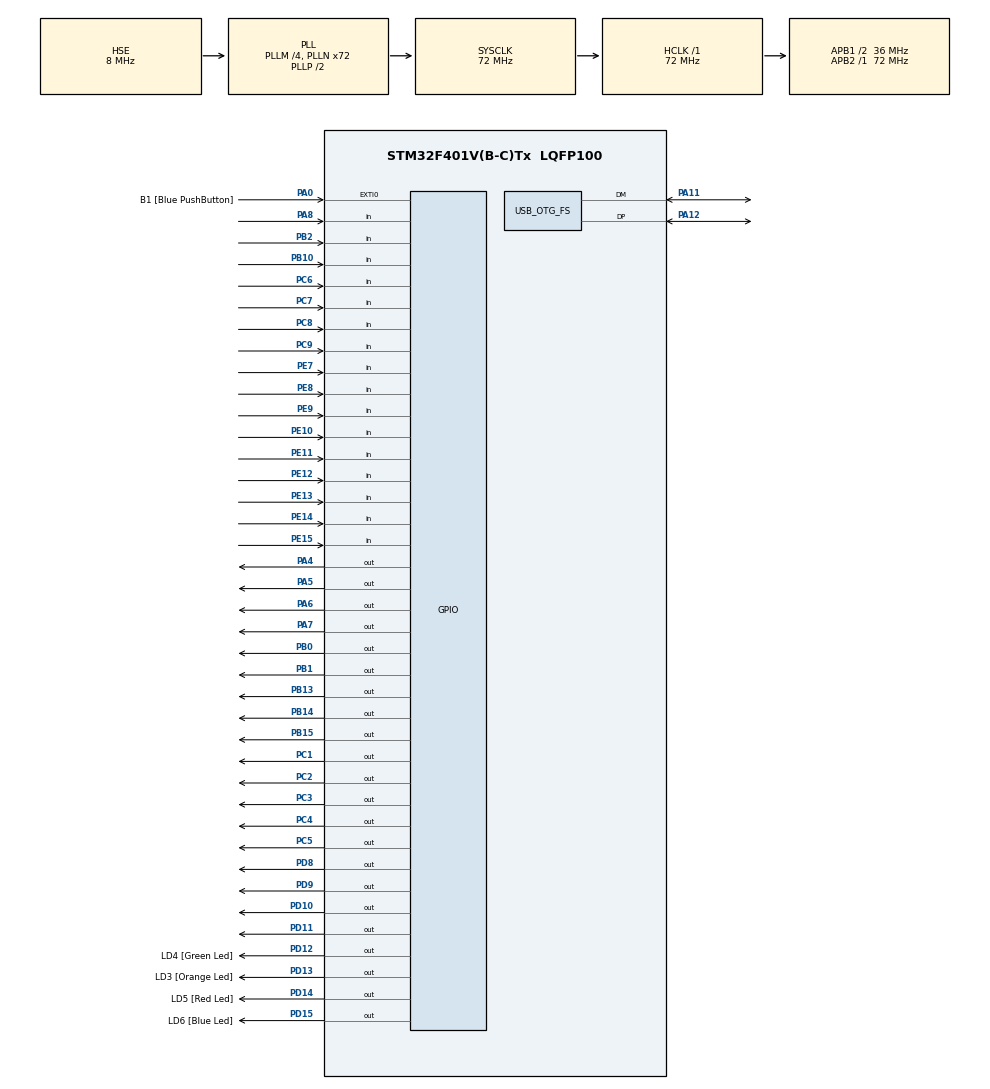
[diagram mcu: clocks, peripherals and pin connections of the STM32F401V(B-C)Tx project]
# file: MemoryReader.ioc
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Mcu.Family=STM32F4
Mcu.Name=STM32F401V(B-C)Tx
Mcu.Package=LQFP100
NVIC.OTG_FS_IRQn=true\:0\:0\:false\:false\:true
NVIC.PriorityGroup=NVIC_PRIORITYGROUP_0
PA0-WKUP.GPIO_Label=B1 [Blue PushButton]
PA0-WKUP.GPIO_ModeDefaultEXTI=GPIO_MODE_EVT_RISING
PA0-WKUP.GPIO_PuPd=GPIO_NOPULL
PA0-WKUP.Signal=GPXTI0
PA11.Mode=Device_Only
PA11.Signal=USB_OTG_FS_DM
PA12.Mode=Device_Only
PA12.Signal=USB_OTG_FS_DP
PA13.GPIO_Label=SWDIO
PA13.Signal=SYS_JTMS-SWDIO
PA14.GPIO_Label=SWCLK
PA14.Signal=SYS_JTCK-SWCLK
PA4.GPIO_PuPd=GPIO_PULLDOWN
PA4.Signal=GPIO_Output
PA5.GPIO_PuPd=GPIO_PULLDOWN
PA5.Signal=GPIO_Output
PA6.GPIO_PuPd=GPIO_PULLDOWN
PA6.Signal=GPIO_Output
PA7.GPIO_PuPd=GPIO_PULLDOWN
PA7.Signal=GPIO_Output
PA8.GPIO_PuPd=GPIO_PULLDOWN
PA8.Signal=GPIO_Input
PB0.GPIO_PuPd=GPIO_PULLDOWN
PB0.Signal=GPIO_Output
PB1.GPIO_PuPd=GPIO_PULLDOWN
PB1.Signal=GPIO_Output
PB10.GPIO_PuPd=GPIO_PULLDOWN
PB10.Signal=GPIO_Input
PB13.GPIO_PuPd=GPIO_PULLDOWN
PB13.Signal=GPIO_Output
PB14.GPIO_PuPd=GPIO_PULLDOWN
PB14.Signal=GPIO_Output
PB15.GPIO_PuPd=GPIO_PULLDOWN
PB15.Signal=GPIO_Output
PB2.GPIO_PuPd=GPIO_PULLDOWN
PB2.Signal=GPIO_Input
PB3.GPIO_Label=SWO
PB3.Signal=SYS_JTDO-SWO
PC1.GPIO_PuPd=GPIO_PULLDOWN
PC1.Signal=GPIO_Output
PC14-OSC32_IN.GPIO_Label=PC14-OSC32_IN
PC14-OSC32_IN.Signal=RCC_OSC32_IN
PC15-OSC32_OUT.GPIO_Label=PC15-OSC32_OUT
PC15-OSC32_OUT.Signal=RCC_OSC32_OUT
PC2.GPIO_PuPd=GPIO_PULLDOWN
PC2.Signal=GPIO_Output
PC3.GPIO_PuPd=GPIO_PULLDOWN
PC3.Signal=GPIO_Output
PC4.GPIO_PuPd=GPIO_PULLDOWN
PC4.Signal=GPIO_Output
PC5.GPIO_PuPd=GPIO_PULLDOWN
PC5.Signal=GPIO_Output
PC6.GPIO_PuPd=GPIO_PULLDOWN
PC6.Signal=GPIO_Input
PC7.GPIO_PuPd=GPIO_PULLDOWN
PC7.Signal=GPIO_Input
PC8.GPIO_PuPd=GPIO_PULLDOWN
PC8.Signal=GPIO_Input
PC9.GPIO_PuPd=GPIO_PULLDOWN
PC9.Signal=GPIO_Input
PD10.GPIO_PuPd=GPIO_PULLDOWN
PD10.Signal=GPIO_Output
PD11.GPIO_PuPd=GPIO_PULLDOWN
PD11.Signal=GPIO_Output
PD12.GPIO_Label=LD4 [Green Led]
PD12.GPIO_PuPd=GPIO_PULLDOWN
PD12.GPIO_Speed=GPIO_SPEED_FREQ_LOW
PD12.Signal=GPIO_Output
PD13.GPIO_Label=LD3 [Orange Led]
PD13.GPIO_PuPd=GPIO_PULLDOWN
PD13.GPIO_Speed=GPIO_SPEED_FREQ_LOW
PD13.Signal=GPIO_Output
PD14.GPIO_Label=LD5 [Red Led]
PD14.GPIO_PuPd=GPIO_PULLDOWN
PD14.GPIO_Speed=GPIO_SPEED_FREQ_LOW
PD14.Signal=GPIO_Output
PD15.GPIO_Label=LD6 [Blue Led]
PD15.GPIO_PuPd=GPIO_PULLDOWN
PD15.GPIO_Speed=GPIO_SPEED_FREQ_LOW
PD15.Signal=GPIO_Output
PD8.GPIO_PuPd=GPIO_PULLDOWN
PD8.Signal=GPIO_Output
PD9.GPIO_PuPd=GPIO_PULLDOWN
PD9.Signal=GPIO_Output
PE10.GPIO_PuPd=GPIO_PULLDOWN
PE10.Signal=GPIO_Input
PE11.GPIO_PuPd=GPIO_PULLDOWN
PE11.Signal=GPIO_Input
PE12.GPIO_PuPd=GPIO_PULLDOWN
PE12.Signal=GPIO_Input
PE13.GPIO_PuPd=GPIO_PULLDOWN
PE13.Signal=GPIO_Input
PE14.GPIO_PuPd=GPIO_PULLDOWN
PE14.Signal=GPIO_Input
PE15.GPIO_PuPd=GPIO_PULLDOWN
PE15.Signal=GPIO_Input
PE7.GPIO_PuPd=GPIO_PULLDOWN
PE7.Signal=GPIO_Input
PE8.GPIO_PuPd=GPIO_PULLDOWN
PE8.Signal=GPIO_Input
PE9.GPIO_PuPd=GPIO_PULLDOWN
PE9.Signal=GPIO_Input
PH0\ -\ OSC_IN.GPIO_Label=PH0-OSC_IN
PH0\ -\ OSC_IN.Mode=HSE-External-Oscillator
PH0\ -\ OSC_IN.Signal=RCC_OSC_IN
PH1\ -\ OSC_OUT.GPIO_Label=PH1-OSC_OUT
PH1\ -\ OSC_OUT.Mode=HSE-External-Oscillator
PH1\ -\ OSC_OUT.Signal=RCC_OSC_OUT
ProjectManager.HeapSize=0x200
ProjectManager.StackSize=0x400
ProjectManager.TargetToolchain=Other Toolchains (GPDSC)
RCC.48MHZClocksFreq_Value=48000000
RCC.AHBFreq_Value=72000000
RCC.APB1CLKDivider=RCC_HCLK_DIV2
RCC.APB1Freq_Value=36000000
RCC.APB1TimFreq_Value=72000000
RCC.APB2Freq_Value=72000000
RCC.APB2TimFreq_Value=72000000
RCC.CortexFreq_Value=72000000
RCC.HCLKFreq_Value=72000000
RCC.HSE_VALUE=8000000
RCC.HSI_VALUE=16000000
RCC.LSE_VALUE=32768
RCC.PLLM=4
RCC.PLLN=72
RCC.PLLQ=3
RCC.SYSCLKFreq_VALUE=72000000
RCC.SYSCLKSource=RCC_SYSCLKSOURCE_PLLCLK
RCC.VCOOutputFreq_Value=144000000
USB_DEVICE.CLASS_NAME_FS=CDC
USB_DEVICE.VirtualModeFS=Cdc_FS
USB_OTG_FS.VirtualMode=Device_Only
VP_USB_DEVICE_VS_USB_DEVICE_CDC_FS.Mode=CDC_FS
board=STM32F401C-DISCO

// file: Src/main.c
/**
  ******************************************************************************
  * File Name          : main.c
  * Description        : Main program body
  ******************************************************************************
  *
  * Copyright (c) 2020 STMicroelectronics International N.V.
  * All rights reserved.
  *
  * Redistribution and use in source and binary forms, with or without
  * modification, are permitted, provided that the following conditions are met:
  *
  * 1. Redistribution of source code must retain the above copyright notice,
  *    this list of conditions and the following disclaimer.
  * 2. Redistributions in binary form must reproduce the above copyright notice,
  *    this list of conditions and the following disclaimer in the documentation
  *    and/or other materials provided with the distribution.
  * 3. Neither the name of STMicroelectronics nor the names of other
  *    contributors to this software may be used to endorse or promote products
  *    derived from this software without specific written permission.
  * 4. This software, including modifications and/or derivative works of this
  *    software, must execute solely and exclusively on microcontroller or
  *    microprocessor devices manufactured by or for STMicroelectronics.
  * 5. Redistribution and use of this software other than as permitted under
  *    this license is void and will automatically terminate your rights under
  *    this license.
  *
  * THIS SOFTWARE IS PROVIDED BY STMICROELECTRONICS AND CONTRIBUTORS "AS IS"
  * AND ANY EXPRESS, IMPLIED OR STATUTORY WARRANTIES, INCLUDING, BUT NOT
  * LIMITED TO, THE IMPLIED WARRANTIES OF MERCHANTABILITY, FITNESS FOR A
  * PARTICULAR PURPOSE AND NON-INFRINGEMENT OF THIRD PARTY INTELLECTUAL PROPERTY
  * RIGHTS ARE DISCLAIMED TO THE FULLEST EXTENT PERMITTED BY LAW. IN NO EVENT
  * SHALL STMICROELECTRONICS OR CONTRIBUTORS BE LIABLE FOR ANY DIRECT, INDIRECT,
  * INCIDENTAL, SPECIAL, EXEMPLARY, OR CONSEQUENTIAL DAMAGES (INCLUDING, BUT NOT
  * LIMITED TO, PROCUREMENT OF SUBSTITUTE GOODS OR SERVICES; LOSS OF USE, DATA,
  * OR PROFITS; OR BUSINESS INTERRUPTION) HOWEVER CAUSED AND ON ANY THEORY OF
  * LIABILITY, WHETHER IN CONTRACT, STRICT LIABILITY, OR TORT (INCLUDING
  * NEGLIGENCE OR OTHERWISE) ARISING IN ANY WAY OUT OF THE USE OF THIS SOFTWARE,
  * EVEN IF ADVISED OF THE POSSIBILITY OF SUCH DAMAGE.
  *
  ******************************************************************************
  */
#include "main.h"
#include "stm32f4xx_hal.h"
#include "usb_device.h"

/* USER CODE BEGIN Includes */
#include "circbuf.h"
/* USER CODE END Includes */

/* USER CODE BEGIN PV */
/* Private variables ---------------------------------------------------------*/
extern circbuf_handler circular_buffer_1;
typedef union {
  uint8_t b[2];
  uint16_t w;
} WordU;
/* USER CODE END PV */

void SystemClock_Config(void);
void Error_Handler(void);
static void MX_GPIO_Init(void);

/* USER CODE BEGIN PFP */
/* Private function prototypes -----------------------------------------------*/
void Read_Address(uint32_t address,uint16_t* word); // address is 21 bit value, word is memory address read

/* USER CODE END PFP */

int main(void)
{

  /* MCU Configuration----------------------------------------------------------*/

  /* Reset of all peripherals, Initializes the Flash interface and the Systick. */
  HAL_Init();

  /* Configure the system clock */
  SystemClock_Config();

  /* Initialize all configured peripherals */
  MX_GPIO_Init();
  MX_USB_DEVICE_Init();

  /* Infinite loop */
  while (1)
  {

  /* USER CODE BEGIN 3 */
    if(circbuf_get_status(circular_buffer_1) != CIRCBUF_STATUS_EMPTY)
    {
      /* Begin data transmission */
      volatile WordU word;

      for(uint32_t i=0; i<0xFFFF; i++)
//      for(uint32_t i=0; i< (1<<21); i++)
      {
        Read_Address(i,&word.w);
        CDC_Transmit_FS(word.b,2);
        HAL_Delay(1); // Try to give UART time to breathe
      }
      while(circbuf_get_status(circular_buffer_1) != CIRCBUF_STATUS_EMPTY)
      {
        circbuf_pop(circular_buffer_1,NULL);
      }

    }

  }
  /* USER CODE END 3 */

}

/** System Clock Configuration
*/
void SystemClock_Config(void)
{

  RCC_OscInitTypeDef RCC_OscInitStruct;
  RCC_ClkInitTypeDef RCC_ClkInitStruct;

    /**Configure the main internal regulator output voltage
    */
  __HAL_RCC_PWR_CLK_ENABLE();

  __HAL_PWR_VOLTAGESCALING_CONFIG(PWR_REGULATOR_VOLTAGE_SCALE2);

    /**Initializes the CPU, AHB and APB busses clocks
    */
  RCC_OscInitStruct.OscillatorType = RCC_OSCILLATORTYPE_HSE;
  RCC_OscInitStruct.HSEState = RCC_HSE_ON;
  RCC_OscInitStruct.PLL.PLLState = RCC_PLL_ON;
  RCC_OscInitStruct.PLL.PLLSource = RCC_PLLSOURCE_HSE;
  RCC_OscInitStruct.PLL.PLLM = 4;
  RCC_OscInitStruct.PLL.PLLN = 72;
  RCC_OscInitStruct.PLL.PLLP = RCC_PLLP_DIV2;
  RCC_OscInitStruct.PLL.PLLQ = 3;
  if (HAL_RCC_OscConfig(&RCC_OscInitStruct) != HAL_OK)
  {
    Error_Handler();
  }

    /**Initializes the CPU, AHB and APB busses clocks
    */
  RCC_ClkInitStruct.ClockType = RCC_CLOCKTYPE_HCLK|RCC_CLOCKTYPE_SYSCLK
                              |RCC_CLOCKTYPE_PCLK1|RCC_CLOCKTYPE_PCLK2;
  RCC_ClkInitStruct.SYSCLKSource = RCC_SYSCLKSOURCE_PLLCLK;
  RCC_ClkInitStruct.AHBCLKDivider = RCC_SYSCLK_DIV1;
  RCC_ClkInitStruct.APB1CLKDivider = RCC_HCLK_DIV2;
  RCC_ClkInitStruct.APB2CLKDivider = RCC_HCLK_DIV1;

  if (HAL_RCC_ClockConfig(&RCC_ClkInitStruct, FLASH_LATENCY_2) != HAL_OK)
  {
    Error_Handler();
  }

    /**Configure the Systick interrupt time
    */
  HAL_SYSTICK_Config(HAL_RCC_GetHCLKFreq()/1000);

    /**Configure the Systick
    */
  HAL_SYSTICK_CLKSourceConfig(SYSTICK_CLKSOURCE_HCLK);

  /* SysTick_IRQn interrupt configuration */
  HAL_NVIC_SetPriority(SysTick_IRQn, 0, 0);
}

/** Configure pins as
        * Analog
        * Input
        * Output
        * EVENT_OUT
        * EXTI
*/
static void MX_GPIO_Init(void)
{

  GPIO_InitTypeDef GPIO_InitStruct;

  /* GPIO Ports Clock Enable */
  __HAL_RCC_GPIOC_CLK_ENABLE();
  __HAL_RCC_GPIOH_CLK_ENABLE();
  __HAL_RCC_GPIOA_CLK_ENABLE();
  __HAL_RCC_GPIOB_CLK_ENABLE();
  __HAL_RCC_GPIOE_CLK_ENABLE();
  __HAL_RCC_GPIOD_CLK_ENABLE();

  /*Configure GPIO pin Output Level */
  HAL_GPIO_WritePin(GPIOC, GPIO_PIN_1|GPIO_PIN_2|GPIO_PIN_3|GPIO_PIN_4
                          |GPIO_PIN_5, GPIO_PIN_RESET);

  /*Configure GPIO pin Output Level */
  HAL_GPIO_WritePin(GPIOA, GPIO_PIN_4|GPIO_PIN_5|GPIO_PIN_6|GPIO_PIN_7, GPIO_PIN_RESET);

  /*Configure GPIO pin Output Level */
  HAL_GPIO_WritePin(GPIOB, GPIO_PIN_0|GPIO_PIN_1|GPIO_PIN_13|GPIO_PIN_14
                          |GPIO_PIN_15, GPIO_PIN_RESET);

  /*Configure GPIO pin Output Level */
  HAL_GPIO_WritePin(GPIOD, GPIO_PIN_8|GPIO_PIN_9|GPIO_PIN_10|GPIO_PIN_11
                          |LD4_Pin|LD3_Pin|LD5_Pin|LD6_Pin, GPIO_PIN_RESET);

  /*Configure GPIO pins : PC1 PC2 PC3 PC4
                           PC5 */
  GPIO_InitStruct.Pin = GPIO_PIN_1|GPIO_PIN_2|GPIO_PIN_3|GPIO_PIN_4
                          |GPIO_PIN_5;
  GPIO_InitStruct.Mode = GPIO_MODE_OUTPUT_PP;
  GPIO_InitStruct.Pull = GPIO_PULLDOWN;
  GPIO_InitStruct.Speed = GPIO_SPEED_FREQ_LOW;
  HAL_GPIO_Init(GPIOC, &GPIO_InitStruct);

  /*Configure GPIO pin : B1_Pin */
  GPIO_InitStruct.Pin = B1_Pin;
  GPIO_InitStruct.Mode = GPIO_MODE_EVT_RISING;
  GPIO_InitStruct.Pull = GPIO_NOPULL;
  HAL_GPIO_Init(B1_GPIO_Port, &GPIO_InitStruct);

  /*Configure GPIO pins : PA4 PA5 PA6 PA7 */
  GPIO_InitStruct.Pin = GPIO_PIN_4|GPIO_PIN_5|GPIO_PIN_6|GPIO_PIN_7;
  GPIO_InitStruct.Mode = GPIO_MODE_OUTPUT_PP;
  GPIO_InitStruct.Pull = GPIO_PULLDOWN;
  GPIO_InitStruct.Speed = GPIO_SPEED_FREQ_LOW;
  HAL_GPIO_Init(GPIOA, &GPIO_InitStruct);

  /*Configure GPIO pins : PB0 PB1 PB13 PB14
                           PB15 */
  GPIO_InitStruct.Pin = GPIO_PIN_0|GPIO_PIN_1|GPIO_PIN_13|GPIO_PIN_14
                          |GPIO_PIN_15;
  GPIO_InitStruct.Mode = GPIO_MODE_OUTPUT_PP;
  GPIO_InitStruct.Pull = GPIO_PULLDOWN;
  GPIO_InitStruct.Speed = GPIO_SPEED_FREQ_LOW;
  HAL_GPIO_Init(GPIOB, &GPIO_InitStruct);

  /*Configure GPIO pins : PB2 PB10 */
  GPIO_InitStruct.Pin = GPIO_PIN_2|GPIO_PIN_10;
  GPIO_InitStruct.Mode = GPIO_MODE_INPUT;
  GPIO_InitStruct.Pull = GPIO_PULLDOWN;
  HAL_GPIO_Init(GPIOB, &GPIO_InitStruct);

  /*Configure GPIO pins : PE7 PE8 PE9 PE10
                           PE11 PE12 PE13 PE14
                           PE15 */
  GPIO_InitStruct.Pin = GPIO_PIN_7|GPIO_PIN_8|GPIO_PIN_9|GPIO_PIN_10
                          |GPIO_PIN_11|GPIO_PIN_12|GPIO_PIN_13|GPIO_PIN_14
                          |GPIO_PIN_15;
  GPIO_InitStruct.Mode = GPIO_MODE_INPUT;
  GPIO_InitStruct.Pull = GPIO_PULLDOWN;
  HAL_GPIO_Init(GPIOE, &GPIO_InitStruct);

  /*Configure GPIO pins : PD8 PD9 PD10 PD11
                           LD4_Pin LD3_Pin LD5_Pin LD6_Pin */
  GPIO_InitStruct.Pin = GPIO_PIN_8|GPIO_PIN_9|GPIO_PIN_10|GPIO_PIN_11
                          |LD4_Pin|LD3_Pin|LD5_Pin|LD6_Pin;
  GPIO_InitStruct.Mode = GPIO_MODE_OUTPUT_PP;
  GPIO_InitStruct.Pull = GPIO_PULLDOWN;
  GPIO_InitStruct.Speed = GPIO_SPEED_FREQ_LOW;
  HAL_GPIO_Init(GPIOD, &GPIO_InitStruct);

  /*Configure GPIO pins : PC6 PC7 PC8 PC9 */
  GPIO_InitStruct.Pin = GPIO_PIN_6|GPIO_PIN_7|GPIO_PIN_8|GPIO_PIN_9;
  GPIO_InitStruct.Mode = GPIO_MODE_INPUT;
  GPIO_InitStruct.Pull = GPIO_PULLDOWN;
  HAL_GPIO_Init(GPIOC, &GPIO_InitStruct);

  /*Configure GPIO pin : PA8 */
  GPIO_InitStruct.Pin = GPIO_PIN_8;
  GPIO_InitStruct.Mode = GPIO_MODE_INPUT;
  GPIO_InitStruct.Pull = GPIO_PULLDOWN;
  HAL_GPIO_Init(GPIOA, &GPIO_InitStruct);

}

/* USER CODE BEGIN 4 */
void Read_Address(uint32_t address,uint16_t* word)
{
  //HAL_GPIO_WritePin( CS1n_Port, CS1n_Pin, GPIO_PIN_SET );
  //HAL_GPIO_WritePin( CS2n_Port, CS2n_Pin, GPIO_PIN_RESET );
  uint8_t a[21]; // Address buffer for individual bits
  for(uint8_t i=0; i<21; i++)
  {
    a[i] = (address>>i)%2;
  }
  // 'a' now stores address in bit array little-endian (LSb at [0])

  // Write address pins
  HAL_GPIO_WritePin( ADR0_Port,ADR0_Pin,a[0] );
  HAL_GPIO_WritePin( ADR1_Port,ADR1_Pin,a[1] );
  HAL_GPIO_WritePin( ADR2_Port,ADR2_Pin,a[2] );
  HAL_GPIO_WritePin( ADR3_Port,ADR3_Pin,a[3] );
  HAL_GPIO_WritePin( ADR4_Port,ADR4_Pin,a[4] );
  HAL_GPIO_WritePin( ADR5_Port,ADR5_Pin,a[5] );
  HAL_GPIO_WritePin( ADR6_Port,ADR6_Pin,a[6] );
  HAL_GPIO_WritePin( ADR7_Port,ADR7_Pin,a[7] );
  HAL_GPIO_WritePin( ADR8_Port,ADR8_Pin,a[8] );
  HAL_GPIO_WritePin( ADR9_Port,ADR9_Pin,a[9] );
  HAL_GPIO_WritePin( ADR10_Port,ADR10_Pin,a[10] );
  HAL_GPIO_WritePin( ADR11_Port,ADR11_Pin,a[11] );
  HAL_GPIO_WritePin( ADR12_Port,ADR12_Pin,a[12] );
  HAL_GPIO_WritePin( ADR13_Port,ADR13_Pin,a[13] );
  HAL_GPIO_WritePin( ADR14_Port,ADR14_Pin,a[14] );
  HAL_GPIO_WritePin( ADR15_Port,ADR15_Pin,a[15] );
  HAL_GPIO_WritePin( ADR16_Port,ADR16_Pin,a[16] );
  HAL_GPIO_WritePin( ADR17_Port,ADR17_Pin,a[17] );
  HAL_GPIO_WritePin( ADR18_Port,ADR18_Pin,a[18] );
  HAL_GPIO_WritePin( ADR19_Port,ADR19_Pin,a[19] );
  HAL_GPIO_WritePin( ADR20_Port,ADR20_Pin,a[20] );

  uint8_t d[16];

  d[0] = HAL_GPIO_ReadPin( DAT0_Port,DAT0_Pin );
  d[1] = HAL_GPIO_ReadPin( DAT1_Port,DAT1_Pin );
  d[2] = HAL_GPIO_ReadPin( DAT2_Port,DAT2_Pin );
  d[3] = HAL_GPIO_ReadPin( DAT3_Port,DAT3_Pin );
  d[4] = HAL_GPIO_ReadPin( DAT4_Port,DAT4_Pin );
  d[5] = HAL_GPIO_ReadPin( DAT5_Port,DAT5_Pin );
  d[6] = HAL_GPIO_ReadPin( DAT6_Port,DAT6_Pin );
  d[7] = HAL_GPIO_ReadPin( DAT7_Port,DAT7_Pin );
  d[8] = HAL_GPIO_ReadPin( DAT8_Port,DAT8_Pin );
  d[9] = HAL_GPIO_ReadPin( DAT9_Port,DAT9_Pin );
  d[10] = HAL_GPIO_ReadPin( DAT10_Port,DAT10_Pin );
  d[11] = HAL_GPIO_ReadPin( DAT11_Port,DAT11_Pin );
  d[12] = HAL_GPIO_ReadPin( DAT12_Port,DAT12_Pin );
  d[13] = HAL_GPIO_ReadPin( DAT13_Port,DAT13_Pin );
  d[14] = HAL_GPIO_ReadPin( DAT14_Port,DAT14_Pin );
  d[15] = HAL_GPIO_ReadPin( DAT15_Port,DAT15_Pin );

  *word = 0;
  for(uint8_t i=0; i<16; i++)
  {
    *word += d[i]<<i;
  }
}

/* USER CODE END 4 */

void Error_Handler(void)
{
  while(1)
  {
  }
}

/************************ (C) COPYRIGHT STMicroelectronics *****END OF FILE****/
